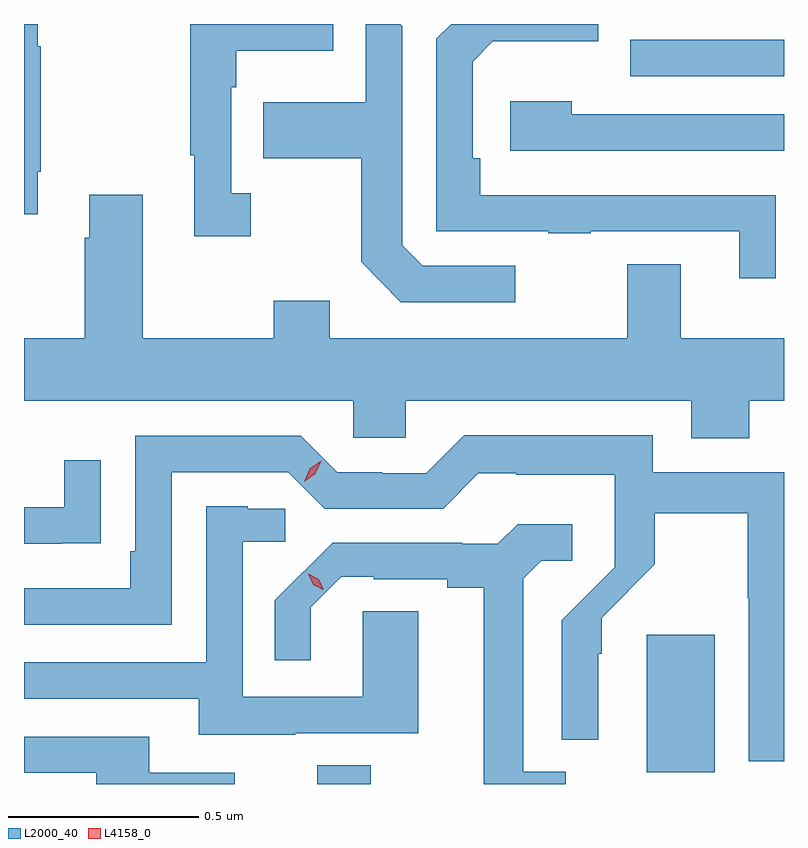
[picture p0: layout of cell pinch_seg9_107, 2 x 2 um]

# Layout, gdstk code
import gdstk
lib = gdstk.Library(unit=1e-6, precision=1e-09)
def R(c, l, rs):  # rectangles x0, y0, x1, y1
    for r in rs: c.add(gdstk.rectangle(r[:2], r[2:], *l))
def P(c, l, *ps):  # polygons
    for p in ps: c.add(gdstk.Polygon(p, *l))
L2000_40 = (2000, 40)
L4158_0 = (4158, 0)

pinch_seg9_107 = lib.new_cell('pinch_seg9_107')
R(pinch_seg9_107, L2000_40, [(1144.385,1200.739,1144.525,1200.788), (1145.252,1200.77,1145.431,1201.132), (1145.209,1202.601,1145.613,1202.697)])
P(pinch_seg9_107, L2000_40, [(1144.21,1202.294),(1144.158,1202.294),(1144.158,1202.573),(1144.171,1202.573),(1144.171,1202.669),(1144.427,1202.669),(1144.427,1202.739),(1144.05,1202.739),(1144.05,1202.393),(1144.061,1202.393),(1144.061,1202.181),(1144.21,1202.181)],
  [(1143.649,1202.35),(1143.657,1202.35),(1143.657,1202.681),(1143.649,1202.681),(1143.649,1202.739),(1143.613,1202.739),(1143.613,1202.238),(1143.649,1202.238)],
  [(1145.591,1202.288),(1145.489,1202.288),(1145.489,1202.289),(1144.814,1202.289),(1144.814,1202.386),(1144.794,1202.386),(1144.794,1202.64),(1144.847,1202.693),(1145.124,1202.693),(1145.124,1202.739),(1144.737,1202.739),(1144.698,1202.7),(1144.698,1202.193),(1144.993,1202.193),(1144.993,1202.188),(1145.105,1202.188),(1145.105,1202.193),(1145.495,1202.193),(1145.495,1202.07),(1145.591,1202.07)],
  [(1144.906,1202.103),(1144.662,1202.103),(1144.608,1202.157),(1144.608,1202.735),(1144.605,1202.735),(1144.605,1202.739),(1144.512,1202.739),(1144.512,1202.533),(1144.243,1202.533),(1144.243,1202.386),(1144.5,1202.386),(1144.5,1202.113),(1144.605,1202.007),(1144.906,1202.007)],
  [(1145.613,1202.502),(1145.054,1202.502),(1145.054,1202.536),(1144.893,1202.536),(1144.893,1202.406),(1145.613,1202.406)],
  [(1145.522,1201.748),(1145.613,1201.748),(1145.613,1201.912),(1145.341,1201.912),(1145.341,1202.107),(1145.201,1202.107),(1145.201,1201.912),(1144.417,1201.912),(1144.417,1202.011),(1144.27,1202.011),(1144.27,1201.912),(1143.925,1201.912),(1143.925,1202.29),(1143.785,1202.29),(1143.785,1202.177),(1143.773,1202.177),(1143.773,1201.912),(1143.613,1201.912),(1143.613,1201.748),(1144.479,1201.748),(1144.479,1201.65),(1144.617,1201.65),(1144.617,1201.748),(1145.369,1201.748),(1145.369,1201.649),(1145.522,1201.649)],
  [(1145.613,1201.56),(1145.268,1201.56),(1145.268,1201.657),(1144.771,1201.657),(1144.671,1201.557),(1144.556,1201.557),(1144.556,1201.56),(1144.437,1201.56),(1144.341,1201.656),(1143.906,1201.656),(1143.906,1201.351),(1143.893,1201.351),(1143.893,1201.254),(1143.613,1201.254),(1143.613,1201.158),(1144.002,1201.158),(1144.002,1201.56),(1144.309,1201.56),(1144.405,1201.464),(1144.716,1201.464),(1144.809,1201.557),(1144.909,1201.557),(1144.909,1201.553),(1145.167,1201.553),(1145.167,1201.309),(1145.028,1201.17),(1145.028,1200.856),(1145.124,1200.856),(1145.124,1201.082),(1145.133,1201.082),(1145.133,1201.177),(1145.273,1201.317),(1145.273,1201.452),(1145.518,1201.452),(1145.518,1201.228),(1145.52,1201.228),(1145.52,1200.799),(1145.613,1200.799)],
  [(1143.713,1201.372),(1143.815,1201.372),(1143.815,1201.591),(1143.719,1201.591),(1143.719,1201.467),(1143.613,1201.467),(1143.613,1201.371),(1143.713,1201.371)],
  [(1144.327,1200.873),(1144.651,1200.873),(1144.651,1201.193),(1144.505,1201.193),(1144.505,1200.969),(1144.188,1200.969),(1144.188,1201.377),(1144.301,1201.377),(1144.301,1201.463),(1144.202,1201.463),(1144.202,1201.47),(1144.092,1201.47),(1144.092,1201.059),(1143.613,1201.059),(1143.613,1200.963),(1144.073,1200.963),(1144.073,1200.869),(1144.327,1200.869)],
  [(1145.038,1200.771),(1144.927,1200.771),(1144.927,1201.279),(1144.974,1201.326),(1145.056,1201.326),(1145.056,1201.423),(1144.912,1201.423),(1144.86,1201.371),(1144.766,1201.371),(1144.766,1201.374),(1144.425,1201.374),(1144.273,1201.222),(1144.273,1201.065),(1144.368,1201.065),(1144.368,1201.204),(1144.448,1201.284),(1144.534,1201.284),(1144.534,1201.278),(1144.727,1201.278),(1144.727,1201.256),(1144.823,1201.256),(1144.823,1200.739),(1145.038,1200.739)],
  [(1144.168,1200.768),(1143.943,1200.768),(1143.943,1200.864),(1143.613,1200.864),(1143.613,1200.768),(1143.803,1200.768),(1143.803,1200.739),(1144.168,1200.739)])
P(pinch_seg9_107, L4158_0, [(1144.4,1201.25),(1144.374,1201.264),(1144.361,1201.292),(1144.361,1201.292),(1144.361,1201.292),(1144.388,1201.278),(1144.4,1201.251),(1144.4,1201.25)],
  [(1144.35,1201.534),(1144.35,1201.534),(1144.365,1201.569),(1144.395,1201.59),(1144.395,1201.59),(1144.395,1201.59),(1144.38,1201.556),(1144.35,1201.534)])

lib.write_gds('pinch_seg9_107.gds')
